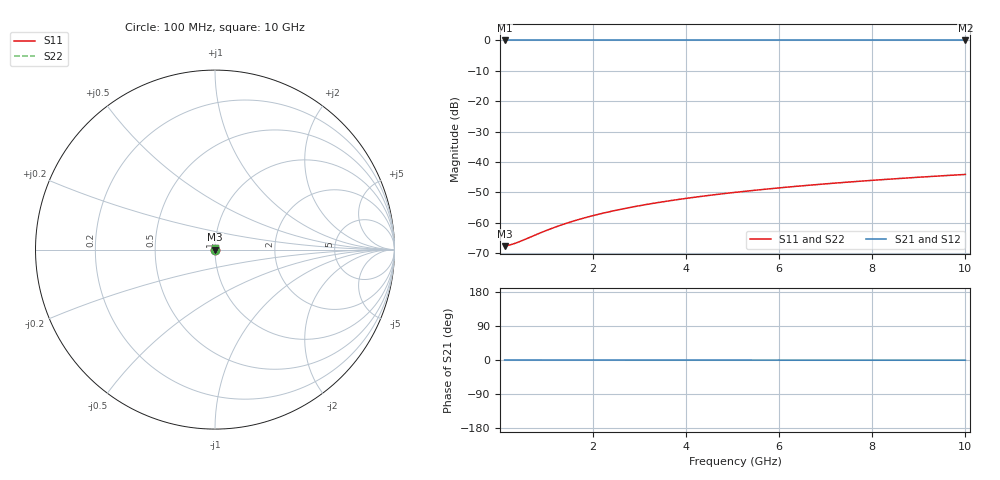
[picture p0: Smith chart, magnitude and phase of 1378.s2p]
# Hz S RI R 50.00
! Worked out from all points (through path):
!   100 points, 100 MHz to 10 GHz, reference 50 ohm
!   highest |S21| = 0.00 dB at 100 MHz (marker M1); lowest = 0.0 dB at 10 GHz (marker M2)
!   lowest |S11| = -67.7 dB at 100 MHz (marker M3), VSWR 1.00, Z = 50 + j0.00622 ohm
!   |S11| at or under -10 dB: start of sweep to end of sweep
!   |S22| runs from -67.7 to -44.1 dB; largest |S21 - S12| = 1e-14
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1e8  0.000409 6.21e-05  0.9996 -8.75e-05  0.9996 -8.75e-05  0.000409 6.21e-05
2e8  0.000412 0.000124  0.9996 -0.000175  0.9996 -0.000175  0.000412 0.000124
3e8  0.000414 0.000186  0.9996 -0.000263  0.9996 -0.000263  0.000414 0.000186
4e8  0.000415 0.000249  0.9996 -0.00035  0.9996 -0.00035  0.000415 0.000249
9e8  0.000421 0.000559  0.9996 -0.000788  0.9996 -0.000788  0.000421 0.000559
1.2e9  0.000424 0.000746  0.9996 -0.00105  0.9996 -0.00105  0.000424 0.000746
1.5e9  0.000426 0.000932  0.9996 -0.00131  0.9996 -0.00131  0.000426 0.000932
1.8e9  0.000429 0.00112  0.9996 -0.00158  0.9996 -0.00158  0.000429 0.00112
2.1e9  0.000431 0.0013  0.9996 -0.00184  0.9996 -0.00184  0.000431 0.0013
2.5e9  0.000434 0.00155  0.9996 -0.00219  0.9996 -0.00219  0.000434 0.00155
2.9e9  0.000437 0.0018  0.9996 -0.00254  0.9996 -0.00254  0.000437 0.0018
3.4e9  0.00044 0.00211  0.9996 -0.00298  0.9996 -0.00298  0.00044 0.00211
3.8e9  0.000443 0.00236  0.9996 -0.00333  0.9996 -0.00333  0.000443 0.00236
4.2e9  0.000446 0.00261  0.9996 -0.00368  0.9996 -0.00368  0.000446 0.00261
4.6e9  0.00045 0.00286  0.9995 -0.00403  0.9995 -0.00403  0.00045 0.00286
5.1e9  0.000454 0.00317  0.9995 -0.00447  0.9995 -0.00447  0.000454 0.00317
5.9e9  0.000461 0.00367  0.9995 -0.00517  0.9995 -0.00517  0.000461 0.00367
6.7e9  0.000469 0.00417  0.9995 -0.00587  0.9995 -0.00587  0.000469 0.00417
7.5e9  0.000478 0.00467  0.9995 -0.00658  0.9995 -0.00658  0.000478 0.00467
8.4e9  0.000488 0.00523  0.9995 -0.00737  0.9995 -0.00737  0.000488 0.00523
9.2e9  0.000498 0.00573  0.9995 -0.00808  0.9995 -0.00808  0.000498 0.00573
1e10  0.000509 0.00624  0.9995 -0.00878  0.9995 -0.00878  0.000509 0.00624
